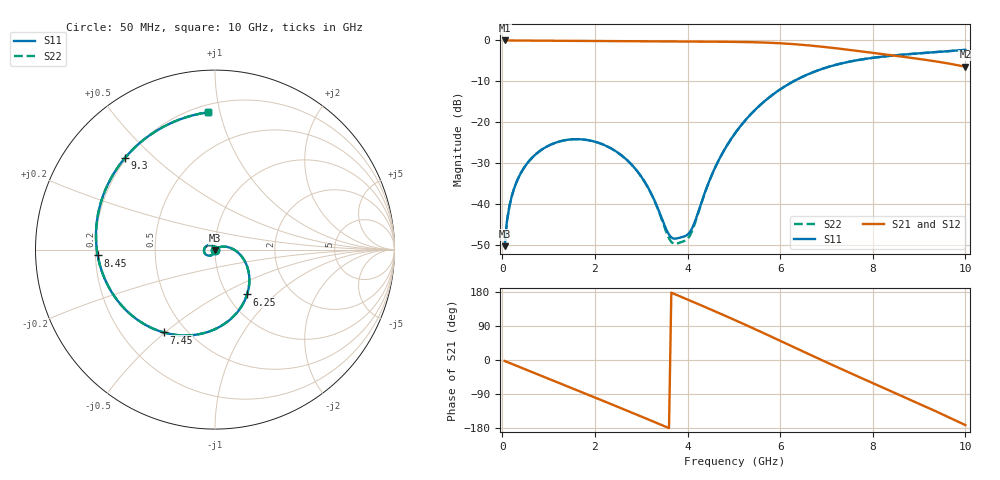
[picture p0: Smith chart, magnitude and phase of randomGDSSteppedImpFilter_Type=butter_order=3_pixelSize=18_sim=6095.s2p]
! freq	dB(S11)	phase(S11)	dB(S12)	phase(S12)
!  dB(S21)	phase(S21)	dB(S22)	phase(S22)
!S-par simulation data
#  GHz  S  DB  R 50
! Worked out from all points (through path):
!   200 points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, 50 MHz to 10 GHz, reference 50 ohm
!   highest |S21| = -0.01 dB at 50 MHz (marker M1); lowest = -6.5 dB at 10 GHz (marker M2)
!   group delay of S21, straight-line fit = 148 ps
!   lowest |S11| = -50.4 dB at 50 MHz (marker M3), VSWR 1.01, Z = 50 - j0.302 ohm
!   |S11| at or under -10 dB: start of sweep to 6.29 GHz
!   |S22| runs from -50.4 to -2.3 dB; largest |S21 - S12| = 0
!   S11 on the Smith chart (normalised r, x): 50 MHz: 1.00, -0.01; 6.25 GHz: 1.23, -0.68; 7.45 GHz: 0.38, -0.49; 8.45 GHz: 0.21, -0.02; 9.3 GHz: 0.19, +0.41; 10 GHz: 0.25, +0.92
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0.05  -50.38 -86.7  -0.01 -2.5  -0.01 -2.5  -50.38 -86.6
0.1  -44.32 -92.0  -0.01 -5.0  -0.01 -5.0  -44.32 -92.0
0.2  -38.34 -98.5  -0.02 -10.0  -0.02 -10.0  -38.34 -98.5
0.5  -30.68 -114.5  -0.04 -24.8  -0.04 -24.8  -30.67 -114.5
1.05  -25.49 -142.7  -0.07 -52.0  -0.07 -52.0  -25.49 -142.6
1.75  -24.25 -178.5  -0.11 -86.5  -0.11 -86.5  -24.25 -178.3
2.25  -25.86 155.5  -0.14 -111.4  -0.14 -111.4  -25.86 155.9
2.75  -29.92 128.2  -0.17 -136.5  -0.17 -136.5  -29.92 129.0
3.1  -35.09 105.7  -0.19 -154.2  -0.19 -154.2  -35.13 107.3
3.4  -42.26 75.0  -0.21 -169.5  -0.21 -169.5  -42.49 78.6
3.65  -48.24 19.2  -0.23 177.7  -0.23 177.7  -49.36 22.4
4  -47.56 -7.9  -0.26 159.6  -0.26 159.6  -48.58 -6.3
4.6  -31.01 28.1  -0.31 128.1  -0.31 128.1  -31.03 28.8
5.05  -22.36 9.9  -0.36 103.9  -0.36 103.9  -22.36 10.0
5.65  -15.00 -21.2  -0.51 70.6  -0.51 70.6  -15.00 -21.2
6.25  -10.25 -54.4  -0.87 36.5  -0.87 36.5  -10.25 -54.5
6.7  -7.83 -79.7  -1.31 10.9  -1.31 10.9  -7.83 -79.9
7.45  -5.30 -121.8  -2.26 -30.9  -2.26 -30.9  -5.30 -121.9
8.35  -3.80 -171.6  -3.55 -79.7  -3.55 -79.7  -3.80 -171.6
8.45  -3.69 -177.1  -3.70 -85.2  -3.70 -85.2  -3.68 -177.2
9.3  -2.90 134.4  -5.02 -131.9  -5.02 -131.9  -2.90 134.4
10  -2.31 92.9  -6.46 -171.8  -6.46 -171.8  -2.31 93.0
